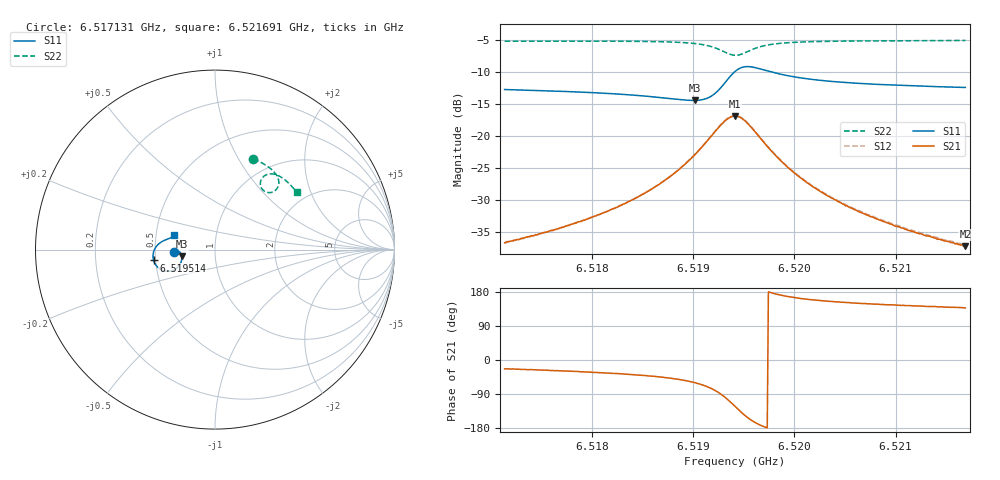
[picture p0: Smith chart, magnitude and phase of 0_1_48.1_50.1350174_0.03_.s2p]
#  HZ  S  RI  R  50.00
! Rohde & Schwarz Vector Network Analyzer
! Rohde-Schwarz,ZNB20-2Port,1311601062101988,3.16
! Created: UTC 12/23/2023, 3:34:33 AM
! freq[Hz]  re:S11  im:S11  re:S21  im:S21  re:S12  im:S12  re:S22  im:S22
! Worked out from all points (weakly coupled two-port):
!   401 points, 6.517131 GHz to 6.521691 GHz, reference 50 ohm
!   highest |S21| = -16.88 dB at 6.519411 GHz (marker M1); lowest = -37.2 dB at 6.521691 GHz (marker M2)
!   lowest |S11| = -14.4 dB at 6.519012 GHz (marker M3), VSWR 1.47, Z = 34.2 - j2.6 ohm
!   |S11| at or under -10 dB: start of sweep to 6.519407 GHz; 6.51977 GHz to end of sweep
!   |S22| runs from -7.4 to -5.1 dB; largest |S21 - S12| = 0.0042
!   S11 on the Smith chart (normalised r, x): 6.517131 GHz: 0.63, -0.02; 6.519514 GHz: 0.49, -0.07; 6.521691 GHz: 0.62, +0.10
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6.5171313e9  -0.2301 -0.0142  0.0135 -0.00583  0.0137 -0.00523  0.2136 0.5054
6.5175417e9  -0.2252 -0.00838  0.0158 -0.00805  0.0162 -0.0075  0.2439 0.4919
6.5178951e9  -0.2197 -0.00462  0.0186 -0.0113  0.0191 -0.0107  0.2699 0.4781
6.5183625e9  -0.2096 -0.00342  0.0244 -0.0192  0.025 -0.0182  0.3053 0.4545
6.5186589e9  -0.1999 -0.00854  0.0298 -0.0293  0.031 -0.0286  0.3284 0.4337
6.5188413e9  -0.1923 -0.0179  0.034 -0.0413  0.0354 -0.0406  0.3426 0.4155
6.5190123e9  -0.1859 -0.0366  0.0361 -0.0616  0.0381 -0.0609  0.3538 0.3902
6.5191149e9  -0.1859 -0.0571  0.0325 -0.0812  0.0351 -0.0808  0.3555 0.3683
6.5191947e9  -0.1936 -0.0796  0.0223 -0.1014  0.0255 -0.1016  0.35 0.3477
6.5193201e9  -0.2381 -0.1168  -0.0231 -0.131  -0.0196 -0.1325  0.3148 0.3188
6.5193657e9  -0.2672 -0.1206  -0.0499 -0.1312  -0.0465 -0.1336  0.2936 0.3182
6.5194113e9  -0.298 -0.1125  -0.0767 -0.1209  -0.0739 -0.124  0.273 0.3272
6.5194569e9  -0.3239 -0.0932  -0.0976 -0.1011  -0.0955 -0.1047  0.2583 0.344
6.5195139e9  -0.342 -0.0605  -0.1101 -0.0706  -0.1089 -0.0743  0.2525 0.3695
6.5196279e9  -0.3392 -0.00416  -0.1013 -0.0225  -0.1016 -0.0256  0.2698 0.4065
6.5197418e9  -0.3195 0.0262  -0.0812 0.000173  -0.0818 -0.00209  0.2956 0.4202
6.519947e9  -0.2903 0.0476  -0.0543 0.0128  -0.0553 0.0113  0.3318 0.4197
6.520175e9  -0.2706 0.0562  -0.0379 0.0146  -0.0387 0.0138  0.3592 0.409
6.5205284e9  -0.2531 0.063  -0.0248 0.0135  -0.0256 0.013  0.3894 0.3888
6.5209388e9  -0.2408 0.0688  -0.0171 0.0117  -0.0178 0.0115  0.4163 0.3644
6.5213378e9  -0.2321 0.0744  -0.0129 0.0104  -0.0133 0.0102  0.4384 0.34
6.5216912e9  -0.2258 0.0791  -0.0102 0.00937  -0.0108 0.00926  0.4562 0.3182
